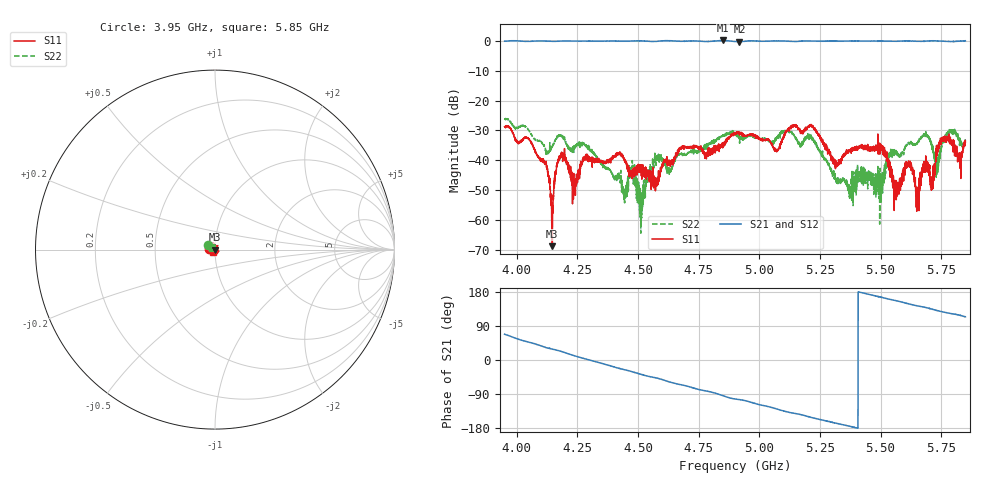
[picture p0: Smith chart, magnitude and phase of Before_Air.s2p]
# GHZ S RI R 50.000000000000
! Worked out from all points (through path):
!   4501 points, 3.95 GHz to 5.85 GHz, reference 50 ohm
!   highest |S21| = 0.12 dB at 4.851 GHz (marker M1); lowest = -0.3 dB at 4.918 GHz (marker M2)
!   group delay of S21, straight-line fit = 452 ps
!   lowest |S11| = -68.8 dB at 4.147 GHz (marker M3), VSWR 1.00, Z = 50 + j0.0126 ohm
!   |S11| at or under -10 dB: start of sweep to end of sweep
!   |S22| runs from -64.4 to -25.9 dB; largest |S21 - S12| = 0.051
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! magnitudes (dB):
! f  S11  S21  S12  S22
! 3.95 GHz  -28.8  -0.1  -0.2  -26.4
! 4.116 GHz  -41.0  -0.1  -0.1  -35.6
! 4.147 GHz  -68.8  -0.2  -0.2  -35.6
! 4.178 GHz  -39.2  -0.1  -0.1  -31.7
! 4.239 GHz  -48.6  -0.1  -0.1  -35.6
! 4.267 GHz  -41.3  -0.1  -0.1  -35.1
! 4.444 GHz  -39.6  -0.1  -0.1  -51.1
! 4.477 GHz  -43.7  -0.1  0.0  -40.1
! 4.512 GHz  -43.4  0.0  0.0  -61.0
! 4.584 GHz  -46.9  -0.1  -0.2  -38.9
! 4.851 GHz  -35.6  0.1  0.1  -31.6
! 4.9 GHz  -30.9  -0.2  -0.2  -31.5
! 4.918 GHz  -31.6  -0.3  -0.2  -32.9
! 5.071 GHz  -36.5  -0.1  0.0  -32.6
! 5.217 GHz  -28.5  -0.1  -0.1  -32.5
! 5.318 GHz  -42.2  -0.1  -0.1  -47.2
! 5.372 GHz  -36.9  -0.1  -0.1  -50.2
! 5.5 GHz  -34.9  -0.1  -0.1  -47.4
! 5.534 GHz  -40.9  -0.1  -0.1  -38.9
! 5.652 GHz  -52.2  -0.2  -0.2  -34.0
! 5.753 GHz  -33.3  -0.1  -0.1  -35.1
! 5.85 GHz  -33.9  0.0  0.0  -33.6
